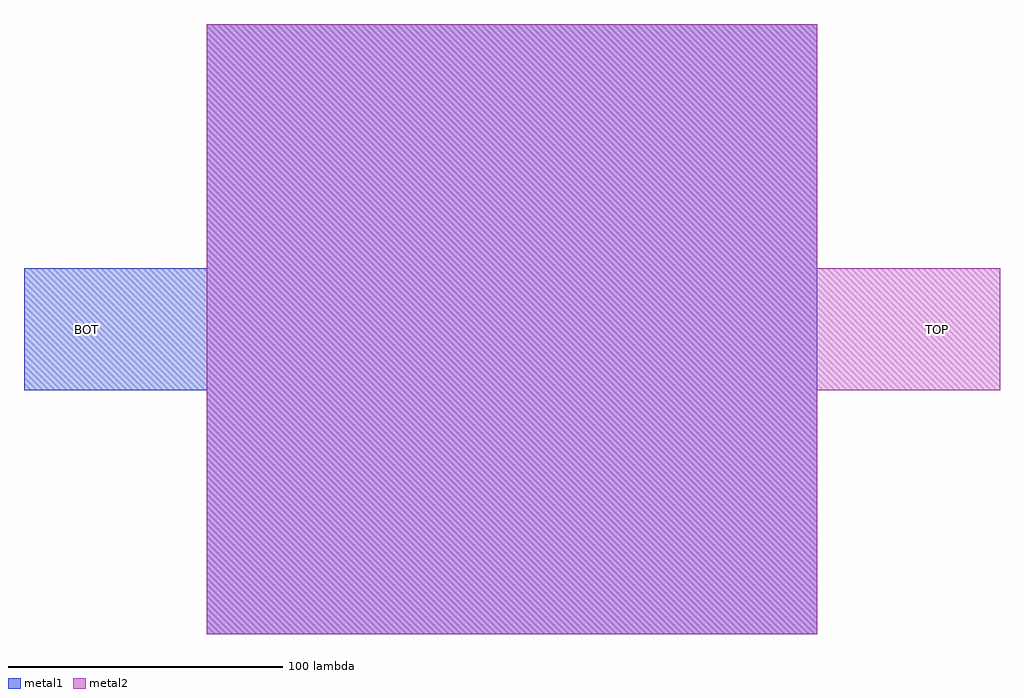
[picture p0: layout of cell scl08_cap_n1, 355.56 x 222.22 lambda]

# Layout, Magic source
magic
tech SCL_CP8D
magscale 1 9
<< metal1 >>
rect 0 1200 2000 2000
rect -600 800 2000 1200
rect 0 0 2000 800
<< metal2 >>
rect 0 1200 2000 2000
rect 0 800 2600 1200
rect 0 0 2000 800
<< labels >>
rlabel metal1 s -396 999 -396 999 4 BOT
port 1 nsew
rlabel metal2 s 2394 999 2394 999 4 TOP
port 2 nsew
<< end >>
